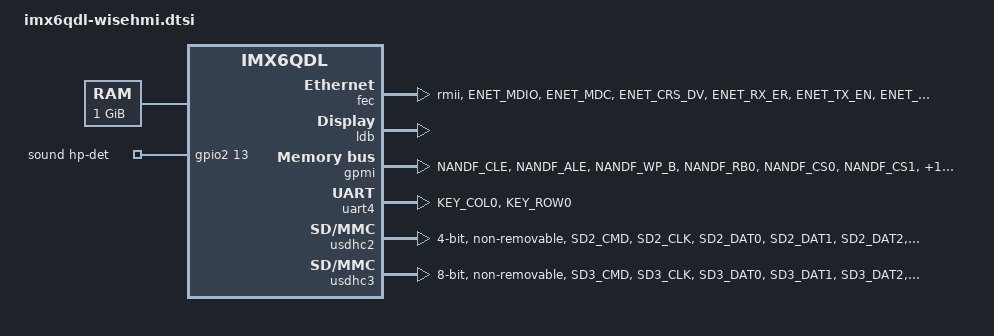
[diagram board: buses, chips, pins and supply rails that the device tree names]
/*
 * Copyright 2012-2015 Freescale Semiconductor, Inc.
 * Copyright 2011 Linaro Ltd.
 *
 * The code contained herein is licensed under the GNU General Public
 * License. You may obtain a copy of the GNU General Public License
 * Version 2 or later at the following locations:
 *
 * http://www.opensource.org/licenses/gpl-license.html
 * http://www.gnu.org/copyleft/gpl.html
 */

#include <dt-bindings/gpio/gpio.h>
#include <dt-bindings/input/input.h>

/ {
	aliases {
		mxcfb0 = &mxcfb1;
		mxcfb1 = &mxcfb2;
	};

	chosen: chosen {
		bootargs = "root=/dev/mmcblk1p2 rootfstype=ext4 rootwait coherent_pool=2M rw console=ttymxc3,115200n8 lpj=7905280 initroot=10:none,initramfs,/startup/run";
		stdout-path = &uart4;
	};

	memory: memory {
		reg = <0x10000000 0x40000000>;
	};

	/*sound {
		compatible = "fsl,imx6q-sabresd-wm8962",
			   "fsl,imx-audio-wm8962";
		model = "wm8962-audio";
		cpu-dai = <&ssi2>;
		audio-codec = <&codec>;
		asrc-controller = <&asrc>;
		audio-routing =
			"Headphone Jack", "HPOUTL",
			"Headphone Jack", "HPOUTR",
			"Ext Spk", "SPKOUTL",
			"Ext Spk", "SPKOUTR",
			"AMIC", "MICBIAS",
			"IN3R", "AMIC",
			"DMIC", "MICBIAS",
			"DMICDAT", "DMIC",
			"CPU-Playback", "ASRC-Playback",
			"Playback", "CPU-Playback",
			"ASRC-Capture", "CPU-Capture",
			"CPU-Capture", "Capture";
		mux-int-port = <2>;
		mux-ext-port = <3>;
		hp-det-gpios = <&gpio7 8 1>;
		mic-det-gpios = <&gpio1 9 1>;
		status = "disabled";
	};*/

	sound {
		compatible = "fsl,imx6qdl-wisehmi-wm8960",
			     "fsl,imx-audio-wm8960";
		model = "wm8960-audio";
		cpu-dai = <&ssi1>;
		audio-codec = <&codec>;
		codec-master;
		/* JD2: hp detect high for headphone*/
		hp-det = <2 0>;
		hp-det-gpios = <&gpio2 13 0>;
		audio-routing =
			"Headphone Jack", "HP_L",
			"Headphone Jack", "HP_R",
			"Ext Spk", "SPK_LP",
			"Ext Spk", "SPK_LN",
			"Ext Spk", "SPK_RP",
			"Ext Spk", "SPK_RN",
			"LINPUT1", "Main MIC",
			"Main MIC", "MICB";
		assigned-clock-rates = <0>, <12288000>;
		mux-int-port = <1>;
		mux-ext-port = <3>;
	};

	mxcfb1: fb@0 {
		compatible = "fsl,mxc_sdc_fb";
		disp_dev = "ldb";
		interface_pix_fmt = "RGB24";
		default_bpp = <32>;
		int_clk = <0>;
		late_init = <0>;
		min_nbuf = <2>;
		status = "okay";
	};
	
	mxcfb2: fb@1 {
		compatible = "fsl,mxc_sdc_fb";
		disp_dev = "lcd";
		interface_pix_fmt = "RGB24";
		mode_str ="CLAA-WVGA";
		default_bpp = <32>;
		int_clk = <0>;
		late_init = <0>;
		min_nbuf = <2>;
		status = "disabled";
	};
	
	lcd: lcd@0 {
		compatible = "fsl,lcd";
		ipu_id = <0>;
		disp_id = <0>;
		default_ifmt = "BGR24";
		native-mode = <&HSD070IDW1>;
		pinctrl-names = "default";
		pinctrl-0 = <&pinctrl_ipu1>;
		status = "disabled";
	};

	video0: v4l2_cap_0 {
		compatible = "fsl,imx6q-v4l2-capture";
		ipu_id = <0>;
		csi_id = <1>;
		mclk_source = <0>;
		status = "disabled";
	};

	v4l2_cap_1 {
		compatible = "fsl,imx6q-v4l2-capture";
		ipu_id = <0>;
		csi_id = <2>;
		mclk_source = <0>;
		status = "disabled";
	};
	
	display-timings {
		/*LVDS lcd*/
		SHARP_LQ123K1LG03:lvds_1280x480_53M{
			clock-frequency = <53172000>;
			hactive = <1280>;
			vactive = <480>;
			hback-porch = <268>;
			hfront-porch = <70>;
			vback-porch = <10>;
			vfront-porch = <10>;
			hsync-len = <70>;
			vsync-len = <25>;
		};
		CHUNGHWA_CLAA088WA01XN:lvds_1280x480_45M{
			/* 8.8” color TFT-LCD */
			clock-frequency = <45000000>;
			hactive = <1280>;
			vactive = <480>;
			hback-porch = <40>;
			hfront-porch = <73>;
			vback-porch = <20>;
			vfront-porch = <23>;
			hsync-len = <20>;
			vsync-len = <10>;
		};
		HITACHI_TX18D45VM2BAA:lvds_800x480_32M{
			clock-frequency = <32321000>;
			hactive = <800>;
			vactive = <480>;
			hback-porch = <100>;
			hfront-porch = <100>;
			vback-porch = <10>;
			vfront-porch = <10>;
			hsync-len = <36>;
			vsync-len = <20>;
		};
		KOE_TX31D200VM0BAA:lvds_1280x480_43M{
			/* need switch to JEIDA mode */
			clock-frequency = <43200000>;
			hactive = <1280>;
			vactive = <480>;
			hback-porch = <40>;
			hfront-porch = <40>;
			vback-porch = <20>;
			vfront-porch = <30>;
			hsync-len = <60>;
			vsync-len = <10>;
		};
		SHARP_LQ123B5LW:lvds_1440x540_54M{
			clock-frequency = <54150000>;
			hactive = <1440>;
			vactive = <540>;
			hback-porch = <100>;
			hfront-porch = <86>;
			vback-porch = <6>;
			vfront-porch = <9>;
			hsync-len = <5>;
			vsync-len = <2>;
		};
		AUO_C123HAN01_1:lvds_1920x720_95M{
			clock-frequency = <190000000>;
			hactive = <1920>;
			vactive = <720>;
			hback-porch = <50>;
			hfront-porch = <50>;
			vback-porch = <15>;
			vfront-porch = <15>;
			hsync-len = <60>;
			vsync-len = <10>;
			hsync-active = <1>; 
			vsync-active = <1>;
		};
		CPT_CLAA123PA01CW:lvds_1440x540_61M { /*cpt 1440*540 panel*/
			clock-frequency = <61250000>;
			hactive = <1440>;
			vactive = <540>;
			hback-porch = <200>;
			hfront-porch = <200>;
			vback-porch = <6>;
			vfront-porch = <6>;
			hsync-len = <162>;
			vsync-len = <7>;
		};
		AUO_C123VAN01_1:lvds_1440x540_55M{ /*AUO 1440*540 panel*/
			clock-frequency = <55100000>;
			hactive = <1440>;
			vactive = <540>;
			hback-porch = <65>;
			hfront-porch = <65>;
			vback-porch = <6>;
			vfront-porch = <6>;
			hsync-len = <70>;
			vsync-len = <7>;
		};  
		HSD_HSD123IPW1_A00:lvds_1920x720_95.04M {  /* hannstar 12.3 1920*720 */
			clock-frequency = <95040000>;
			hactive = <1920>;
			vactive = <720>;
			hback-porch = <38>;
			hfront-porch = <38>;
			vback-porch = <35>;
			vfront-porch = <35>;
			hsync-len = <4>;
			vsync-len = <2>;
		};
		CPT_CLAA123FBA1_XN:lvds_1920x720_104M {	/* cpt 12.3 1920*720 */
			clock-frequency = <104600000>;
			hactive = <1920>;
			vactive = <720>;
			hback-porch = <150>;
			hfront-porch = <150>;
			vback-porch = <15>;
			vfront-porch = <15>;
			hsync-len = <80>;
			vsync-len = <8>;
		};

		/*TTL lcd*/
		TX26D25VM2BAA:ttl_800x256_20M{
			clock-frequency = <20000000>;
			hactive = <800>;
			vactive = <256>;
			hback-porch = <80>;
			hfront-porch = <160>;
			vback-porch = <20>;
			vfront-porch = <30>;
			hsync-len = <16>;
			vsync-len = <10>;
		};
		HSD070IDW1:ttl_800x480_30M{
			clock-frequency = <30000000>;
			hactive = <800>;
			vactive = <480>;
			hback-porch = <40>;
			hfront-porch = <40>;
			vback-porch = <13>;
			vfront-porch = <29>;
			hsync-len = <48>;
			vsync-len = <3>;
		};
		LQ101K5DZ01:ttl_1280x424_44M{
			clock-frequency = <44240000>;
			hactive = <1280>;
			vactive = <424>;
			hback-porch = <42>;
			hfront-porch = <194>;
			vback-porch = <15>;
			vfront-porch = <35>;
			hsync-len = <20>;
			vsync-len = <8>;
			pixelclk-active = <0>;
		};
	};
	
	wisehmi_bl: pwm-backlight {
		compatible = "pwm-backlight";
		pwms = <&pwm3 0 50000>;
		brightness-levels = <
		    0  1  2  3  4  5  6  7  8  9
		    10 11 12 13 14 15 16 17 18 19
		    20 21 22 23 24 25 26 27 28 29
		    30 31 32 33 34 35 36 37 38 39
		    40 41 42 43 44 45 46 47 48 49
		    50 51 52 53 54 55 56 57 58 59
		    60 61 62 63 64 65 66 67 68 69
		    70 71 72 73 74 75 76 77 78 79
		    80 81 82 83 84 85 86 87 88 89
		    90 91 92 93 94 95 96 97 98 99
		    >;   
		default-brightness-level = <0>; 
		status = "disabled";
	};

	displaysw: display-switch {
	    	display-sw-gpio = <&gpio1 16 GPIO_ACTIVE_HIGH>;
	};
};

&audmux {
	pinctrl-names = "default";
	pinctrl-0 = <&pinctrl_audmux>;
	status = "disabled";
};

/*&cpu0 {
	arm-supply = <&sw1a_reg>;
	soc-supply = <&sw1c_reg>;
};*/

&clks {
	fsl,ldb-di0-parent = <&clks IMX6QDL_CLK_PLL2_PFD0_352M>;
	fsl,ldb-di1-parent = <&clks IMX6QDL_CLK_PLL2_PFD0_352M>;
};

&fec {
	pinctrl-names = "default";
	pinctrl-0 = <&pinctrl_enet>;
	phy-mode = "rmii";
	phy-reset-gpios = <&gpio1 4 0>;
	/*phy-handle = <&ethphy>;
	mdio {
		#address-cells = <1>;
		#size-cells = <0>;

		ethphy: ethernet-phy@0 {
			compatible = "ethernet-phy-ieee802.3-c22";
			interrupt-parent = <&gpio1>;
			interrupts = <23 IRQ_TYPE_LEVEL_LOW>;
			reg = <1>;
		};
	};*/
	phy-reset-duration = <1>;
 	fsl,magic-packet;
};

&gpc {
	fsl,ldo-bypass = <1>;
};

&dcic1 {
	dcic_id = <0>;
	dcic_mux = "dcic-hdmi";
	status = "disabled";
};

&dcic2 {
	dcic_id = <1>;
	dcic_mux = "dcic-lvds1";
	status = "disabled";
};

&i2c3 {
	clock-frequency = <100000>;
	pinctrl-names = "default";
	pinctrl-0 = <&pinctrl_i2c3>;
	status = "disable";

	/*codec: wm8962@1a {
		compatible = "wlf,wm8962";
		reg = <0x1a>;
		clocks = <&clks IMX6QDL_CLK_CKO>;*/
		/*DCVDD-supply = <&reg_audio>;
		DBVDD-supply = <&reg_audio>;
		AVDD-supply = <&reg_audio>;
		CPVDD-supply = <&reg_audio>;
		MICVDD-supply = <&reg_audio>;
		PLLVDD-supply = <&reg_audio>;
		SPKVDD1-supply = <&reg_audio>;
		SPKVDD2-supply = <&reg_audio>;*/
		//gpio-cfg = <
		//	0x0000 /* 0:Default */
		//	0x0000 /* 1:Default */
		//	0x0013 /* 2:FN_DMICCLK */
		//	0x0000 /* 3:Default */
		//	0x8014 /* 4:FN_DMICCDAT */
		//	0x0000 /* 5:Default */
		//>;
		//amic-mono;
      // };

	codec: wm8960@1a {
		compatible = "wlf,wm8960";
		reg = <0x1a>;
		clocks = <&clks IMX6QDL_CLK_CKO>;
		clock-names = "mclk";
		/*headphone outputs
		wlf,capless;*/
		wlf,shared-lrclk;
	};

      	tw9990: tw9990@44 {
		compatible = "intersil,tw9990";
		reg = <0x44>;
		pinctrl-names = "default";
		pinctrl-0 = <&pinctrl_ipu1_2>;
		clocks = <&clks IMX6QDL_CLK_CKO>;
		clock-names = "csi_mclk";
		pdn-gpios = <&gpio1 18 GPIO_ACTIVE_HIGH>;
		rstb-gpios = <&gpio1 7 GPIO_ACTIVE_LOW>;
		csi_id = <1>;
		mclk = <24000000>;
		mclk_source = <0>;
	};

};

&iomuxc {
	pinctrl-names = "default";
	pinctrl-0 = <&pinctrl_hog>;

	imx6qdl-wisehmi {
		pinctrl_hog: hoggrp {
			fsl,pins = <
				MX6QDL_PAD_GPIO_19__CCM_CLKO1    0x1b0b0
			>;
		};

		pinctrl_audmux: audmuxgrp {
			fsl,pins = <
				MX6QDL_PAD_CSI0_DAT7__AUD3_RXD		0x130b0
				MX6QDL_PAD_CSI0_DAT4__AUD3_TXC		0x130b0
				MX6QDL_PAD_CSI0_DAT5__AUD3_TXD		0x110b0
				MX6QDL_PAD_CSI0_DAT6__AUD3_TXFS		0x130b0

				MX6QDL_PAD_SD4_DAT5__GPIO2_IO13		0x80000000
			>;
		};

		pinctrl_enet: enetgrp {
			fsl,pins = <
			    /* RMII */
				MX6QDL_PAD_ENET_MDIO__ENET_MDIO       0x1b0b0
				MX6QDL_PAD_ENET_MDC__ENET_MDC         0x1b0b0
				MX6QDL_PAD_ENET_CRS_DV__ENET_RX_EN    0x1b0b0
				MX6QDL_PAD_ENET_RX_ER__ENET_RX_ER     0x1b0b0
				MX6QDL_PAD_ENET_TX_EN__ENET_TX_EN     0x1b0b0
				MX6QDL_PAD_ENET_RXD0__ENET_RX_DATA0   0x1b0b0
				MX6QDL_PAD_ENET_RXD1__ENET_RX_DATA1   0x1b0b0
				MX6QDL_PAD_ENET_TXD0__ENET_TX_DATA0   0x1b0b0
				MX6QDL_PAD_ENET_TXD1__ENET_TX_DATA1   0x1b0b0
				/* reset */
				MX6QDL_PAD_GPIO_4__GPIO1_IO04         0x80000000
				/* interrupt */
				MX6QDL_PAD_ENET_REF_CLK__GPIO1_IO23   0x80000000
				/* reference clock */
				MX6QDL_PAD_GPIO_16__ENET_REF_CLK      0x4001b0a8
			>;
		};

		/*pinctrl_enet_irq: enetirqgrp {
			fsl,pins = <
				MX6QDL_PAD_GPIO_6__ENET_IRQ		0x000b1
			>;
		};*/

		pinctrl_i2c3: i2c3grp {
			fsl,pins = <
				MX6QDL_PAD_EIM_D17__I2C3_SCL    0x4001b8b1
				MX6QDL_PAD_EIM_D18__I2C3_SDA    0x4001b8b1
			>;
		};
		
		pinctrl_gpmi_nand: gpminandgrp {
			fsl,pins = <
				MX6QDL_PAD_NANDF_CLE__NAND_CLE     0xb0b1
				MX6QDL_PAD_NANDF_ALE__NAND_ALE     0xb0b1
				MX6QDL_PAD_NANDF_WP_B__NAND_WP_B   0xb0b1
				MX6QDL_PAD_NANDF_RB0__NAND_READY_B 0xb000
				MX6QDL_PAD_NANDF_CS0__NAND_CE0_B   0xb0b1
				MX6QDL_PAD_NANDF_CS1__NAND_CE1_B   0xb0b1
				MX6QDL_PAD_NANDF_CS2__NAND_CE2_B   0xb0b1
				MX6QDL_PAD_NANDF_CS3__NAND_CE3_B   0xb0b1
				MX6QDL_PAD_SD4_CMD__NAND_RE_B      0xb0b1
				MX6QDL_PAD_SD4_CLK__NAND_WE_B      0xb0b1
				MX6QDL_PAD_NANDF_D0__NAND_DATA00   0xb0b1
				MX6QDL_PAD_NANDF_D1__NAND_DATA01   0xb0b1
				MX6QDL_PAD_NANDF_D2__NAND_DATA02   0xb0b1
				MX6QDL_PAD_NANDF_D3__NAND_DATA03   0xb0b1
				MX6QDL_PAD_NANDF_D4__NAND_DATA04   0xb0b1
				MX6QDL_PAD_NANDF_D5__NAND_DATA05   0xb0b1
				MX6QDL_PAD_NANDF_D6__NAND_DATA06   0xb0b1
				MX6QDL_PAD_NANDF_D7__NAND_DATA07   0xb0b1
				MX6QDL_PAD_SD4_DAT0__NAND_DQS      0x00b1
			>;
		};
		
		pinctrl_ipu1: ipu1grp {
			fsl,pins = <
				MX6QDL_PAD_DI0_DISP_CLK__IPU1_DI0_DISP_CLK 0x10
				MX6QDL_PAD_DI0_PIN15__IPU1_DI0_PIN15       0x10
				MX6QDL_PAD_DI0_PIN2__IPU1_DI0_PIN02        0x10
				MX6QDL_PAD_DI0_PIN3__IPU1_DI0_PIN03        0x10
				MX6QDL_PAD_DI0_PIN4__IPU1_DI0_PIN04        0x80000000
				MX6QDL_PAD_DISP0_DAT0__IPU1_DISP0_DATA00   0x10
				MX6QDL_PAD_DISP0_DAT1__IPU1_DISP0_DATA01   0x10
				MX6QDL_PAD_DISP0_DAT2__IPU1_DISP0_DATA02   0x10
				MX6QDL_PAD_DISP0_DAT3__IPU1_DISP0_DATA03   0x10
				MX6QDL_PAD_DISP0_DAT4__IPU1_DISP0_DATA04   0x10
				MX6QDL_PAD_DISP0_DAT5__IPU1_DISP0_DATA05   0x10
				MX6QDL_PAD_DISP0_DAT6__IPU1_DISP0_DATA06   0x10
				MX6QDL_PAD_DISP0_DAT7__IPU1_DISP0_DATA07   0x10
				MX6QDL_PAD_DISP0_DAT8__IPU1_DISP0_DATA08   0x10
				MX6QDL_PAD_DISP0_DAT9__IPU1_DISP0_DATA09   0x10
				MX6QDL_PAD_DISP0_DAT10__IPU1_DISP0_DATA10  0x10
				MX6QDL_PAD_DISP0_DAT11__IPU1_DISP0_DATA11  0x10
				MX6QDL_PAD_DISP0_DAT12__IPU1_DISP0_DATA12  0x10
				MX6QDL_PAD_DISP0_DAT13__IPU1_DISP0_DATA13  0x10
				MX6QDL_PAD_DISP0_DAT14__IPU1_DISP0_DATA14  0x10
				MX6QDL_PAD_DISP0_DAT15__IPU1_DISP0_DATA15  0x10
				MX6QDL_PAD_DISP0_DAT16__IPU1_DISP0_DATA16  0x10
				MX6QDL_PAD_DISP0_DAT17__IPU1_DISP0_DATA17  0x10
				MX6QDL_PAD_DISP0_DAT18__IPU1_DISP0_DATA18  0x10
				MX6QDL_PAD_DISP0_DAT19__IPU1_DISP0_DATA19  0x10
				MX6QDL_PAD_DISP0_DAT20__IPU1_DISP0_DATA20  0x10
				MX6QDL_PAD_DISP0_DAT21__IPU1_DISP0_DATA21  0x10
				MX6QDL_PAD_DISP0_DAT22__IPU1_DISP0_DATA22  0x10
				MX6QDL_PAD_DISP0_DAT23__IPU1_DISP0_DATA23  0x10
			>;
		};

		pinctrl_uart2: uart2grp {
			fsl,pins = <
				MX6QDL_PAD_SD4_DAT4__UART2_RX_DATA   0x1b0b1
				MX6QDL_PAD_SD4_DAT7__UART2_TX_DATA   0x1b0b1
			>;
		};

		pinctrl_uart3: uart3grp {
			fsl,pins = <
				MX6QDL_PAD_EIM_D24__UART3_TX_DATA   0x1b0b1
				MX6QDL_PAD_EIM_D25__UART3_RX_DATA   0x1b0b1
				// bt_wake
				//MX6QDL_PAD_GPIO_5__GPIO1_IO05       0x80000000
			>;
		};

		pinctrl_uart4: uart4grp {
			fsl,pins = <
				MX6QDL_PAD_KEY_COL0__UART4_TX_DATA 0x1b0b1
				MX6QDL_PAD_KEY_ROW0__UART4_RX_DATA 0x1b0b1
			>;
		};

		pinctrl_usdhc2: usdhc2grp {
			fsl,pins = <
				MX6QDL_PAD_SD2_CMD__SD2_CMD		0x17059
				MX6QDL_PAD_SD2_CLK__SD2_CLK		0x10059
				MX6QDL_PAD_SD2_DAT0__SD2_DATA0		0x17059
				MX6QDL_PAD_SD2_DAT1__SD2_DATA1		0x17059
				MX6QDL_PAD_SD2_DAT2__SD2_DATA2		0x17059
				MX6QDL_PAD_SD2_DAT3__SD2_DATA3		0x17059
				>;
		};

		pinctrl_usdhc3: usdhc3grp {
			fsl,pins = <
				MX6QDL_PAD_SD3_CMD__SD3_CMD 0x17079
				MX6QDL_PAD_SD3_CLK__SD3_CLK 0x10079
				MX6QDL_PAD_SD3_DAT0__SD3_DATA0 0x17079
				MX6QDL_PAD_SD3_DAT1__SD3_DATA1 0x17079
				MX6QDL_PAD_SD3_DAT2__SD3_DATA2 0x17079
				MX6QDL_PAD_SD3_DAT3__SD3_DATA3 0x17079
				MX6QDL_PAD_SD3_DAT4__SD3_DATA4 0x17079
				MX6QDL_PAD_SD3_DAT5__SD3_DATA5 0x17079
				MX6QDL_PAD_SD3_DAT6__SD3_DATA6 0x17079
				MX6QDL_PAD_SD3_DAT7__SD3_DATA7 0x17079
			>;
		};
				
		display_switch_1: displaysw-1 {
			fsl,pins = <
				MX6QDL_PAD_SD1_DAT0__GPIO1_IO16            0x80000000
			>;
		};

		pinctrl_pwm3_1: pwm3grp-1 {
			fsl,pins = <
				MX6QDL_PAD_SD1_DAT1__PWM3_OUT 	0x1b0b1
			>;
		};
	};
};

&ldb {
	status = "okay";
	/*split-mode;*/

	lvds-channel@0 {
		fsl,data-mapping = "spwg";
		fsl,data-width = <24>;
		crtc = "ipu1-di0";
		primary;
		status = "okay";

		native-mode = <&AUO_C123HAN01_1>;
	};

	/*lvds-channel@1 {
		fsl,data-mapping = "spwg";
		fsl,data-width = <24>;
		crtc = "ipu1-di0";
		status = "okay";

		native-mode = <&AUO_C123HAN01_1>;
	};*/
};

&pwm3 {
	pinctrl-names = "default";
	pinctrl-0 = <&pinctrl_pwm3_1>;
	status = "disabled";
};
 
&mipi_csi {
	status = "disabled";
	ipu_id = <0>;
	csi_id = <1>;
	v_channel = <0>;
	lanes = <2>;
};

&gpmi {
	pinctrl-names = "default";
	pinctrl-0 = <&pinctrl_gpmi_nand>;	
	nand-on-flash-bbt;
	/*
	partition@0 {
		label = "spl";
		reg = <0x0 0x20000>;
	};
	partition@20000 {
		label = "uboot";
		reg = <0x20000 0xC0000>;
	};
	partition@E0000 {
		label = "env";
		reg = <0xE0000 0x60000>;
	};
	partition@140000 {
		label = "dtb";
		reg = <0x140000 0x60000>;
	};
	partition@1A0000 {
		label = "kernel";
		reg = <0x1A0000 0x780000>;
	};
	partition@920000 {
		label = "rootfs";
		reg = <0x920000 0x0>;
	};
	*/
};

&ssi2 {
	status = "disable";
};

&uart2 {
	pinctrl-names = "default";
	pinctrl-0 = <&pinctrl_uart2>;
	status = "disable";
};

&uart3 {
	pinctrl-names = "default";
	pinctrl-0 = <&pinctrl_uart3>;
	status = "disable";
};

&uart4 {
	pinctrl-names = "default";
	pinctrl-0 = <&pinctrl_uart4>;
	status = "okay";
};

&usbh1 {
	//vbus-supply = <&reg_usb_h1_vbus>;
	status = "disable";
};

&usbphy1 {
	tx-d-cal = <0x5>;
};

&usbphy2 {
	tx-d-cal = <0x5>;
};

&usdhc2 {
	pinctrl-names = "default";
	pinctrl-0 = <&pinctrl_usdhc2>;
	bus-width = <4>;
	non-removable;
	no-1-8-v;
	keep-power-in-suspend;
	status = "okay";
};

&usdhc3 {
	pinctrl-names = "default";
	pinctrl-0 = <&pinctrl_usdhc3>;
	bus-width = <8>;
	non-removable;
	no-1-8-v;
	keep-power-in-suspend;
	status = "okay";
};
